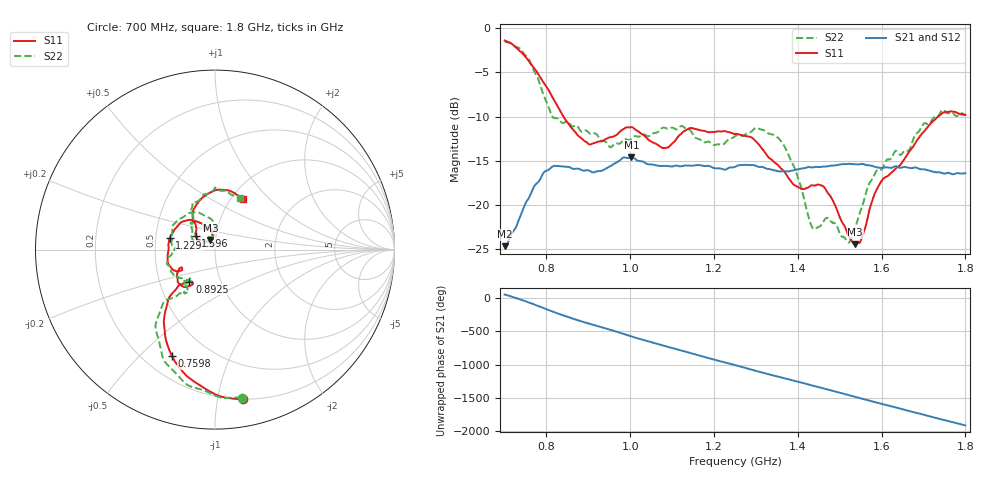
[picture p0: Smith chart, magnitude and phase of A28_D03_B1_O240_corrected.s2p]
! Created with skrf 1.9.0 (http://scikit-rf.org).
# Hz S RI R 50.0
!freq ReS11 ImS11 ReS21 ImS21 ReS12 ImS12 ReS22 ImS22
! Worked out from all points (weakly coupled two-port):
!   1601 points, 700 MHz to 1.8 GHz, reference 50 ohm
!   highest |S21| = -14.60 dB at 1.002 GHz (marker M1); lowest = -24.6 dB at 700.7 MHz (marker M2)
!   lowest |S11| = -24.4 dB at 1.537 GHz (marker M3), VSWR 1.13, Z = 47.2 + j5.13 ohm
!   |S11| at or under -10 dB: 840.1 MHz to 1.735 GHz (894.7 MHz wide, 69.5 % of centre)
!   |S22| runs from -24.2 to -1.5 dB; largest |S21 - S12| = 0.0036
!   S11 on the Smith chart (normalised r, x): 700 MHz: 0.20, -1.19; 759.8 MHz: 0.31, -0.63; 892.5 MHz: 0.71, -0.27; 1.229 GHz: 0.59, +0.08; 1.596 GHz: 0.80, +0.13; 1.8 GHz: 1.13, +0.71
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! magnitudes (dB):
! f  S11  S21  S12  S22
! 700 MHz  -1.4  -24.6  -24.4  -1.5
! 700.7 MHz  -1.4  -24.6  -24.3  -1.5
! 759.8 MHz  -3.9  -19.0  -18.9  -3.7
! 814.8 MHz  -7.9  -15.6  -15.7  -10.1
! 883.6 MHz  -12.5  -16.0  -15.9  -11.7
! 892.5 MHz  -12.8  -16.1  -16.1  -11.6
! 952.3 MHz  -12.3  -15.6  -15.6  -13.5
! 1.002 GHz  -11.2  -14.6  -14.7  -12.5
! 1.067 GHz  -13.2  -15.6  -15.5  -11.7
! 1.229 GHz  -11.7  -16.0  -15.9  -12.8
! 1.25 GHz  -12.0  -15.7  -15.6  -12.2
! 1.357 GHz  -15.7  -16.2  -16.1  -12.6
! 1.396 GHz  -17.8  -16.0  -16.0  -16.3
! 1.434 GHz  -17.8  -15.7  -15.7  -22.5
! 1.464 GHz  -18.1  -15.6  -15.6  -21.6
! 1.52 GHz  -23.4  -15.3  -15.4  -24.2
! 1.537 GHz  -24.4  -15.4  -15.4  -22.6
! 1.569 GHz  -20.9  -15.5  -15.5  -17.7
! 1.596 GHz  -17.6  -15.8  -15.8  -16.0
! 1.617 GHz  -16.6  -15.8  -15.7  -14.8
! 1.74 GHz  -9.8  -16.3  -16.3  -9.6
! 1.8 GHz  -9.8  -16.4  -16.4  -9.9
